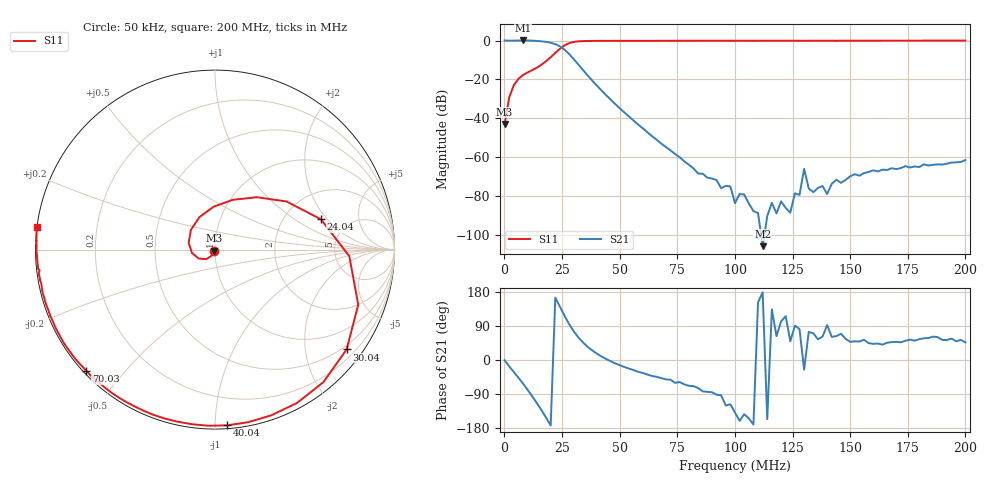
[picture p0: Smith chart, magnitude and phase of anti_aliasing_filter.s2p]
# HZ S RI R 50
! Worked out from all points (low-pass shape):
!   101 points, 50 kHz to 200 MHz, reference 50 ohm
!   highest |S21| = 0.05 dB at 8.048 MHz (marker M1); lowest = -105.8 dB at 112 MHz (marker M2)
!   |S21| within 3 dB of the highest: start of sweep to 24.02 MHz
!   lowest |S11| = -42.9 dB at 50 kHz (marker M3), VSWR 1.01, Z = 49.7 - j0.644 ohm
!   |S11| at or under -10 dB: start of sweep to 18.65 MHz
!   S12 and S22 are empty: the file has one direction only
!   S11 on the Smith chart (normalised r, x): 50 kHz: 0.99, -0.01; 24.04 MHz: 3.17, +1.72; 30.04 MHz: 0.40, -2.92; 40.04 MHz: 0.02, -1.07; 70.03 MHz: 0.01, -0.40; 200 MHz: -0.00, +0.06
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50000  -0.00296 -0.00648  1.004 -0.00808  0 0  0 0
2049500  -0.0148 -0.0311  0.9509 -0.2867  0 0  0 0
4049000  -0.0477 -0.053  0.8487 -0.5222  0 0  0 0
8048000  -0.1284 -0.0187  0.4657 -0.8914  0 0  0 0
1.2047e7  -0.1344 0.1095  -0.1035 -0.9887  0 0  0 0
1.80455e7  0.099 0.2773  -0.8149 -0.4342  0 0  0 0
2.4044e7  0.5899 0.1688  -0.5502 0.4503  0 0  0 0
3.00425e7  0.7333 -0.5562  0.0825 0.3232  0 0  0 0
3.40415e7  0.4568 -0.8545  0.121 0.1269  0 0  0 0
4.004e7  0.0662 -0.9792  0.0667 0.0203  0 0  0 0
6.8033e7  -0.6937 -0.7001  0.00149 -0.00166  0 0  0 0
7.00325e7  -0.7166 -0.6766  0.00115 -0.00142  0 0  0 0
9.40265e7  -0.8845 -0.443  -9.14e-06 -0.000158  0 0  0 0
9.80255e7  -0.8991 -0.4099  -7.88e-05 -0.000157  0 0  0 0
1.00025e8  -0.9062 -0.3938  -4.93e-05 -4.3e-05  0 0  0 0
1.12022e8  -0.9407 -0.306  -5.13e-06 1.21e-07  0 0  0 0
1.28018e8  -0.9658 -0.2038  1.55e-05 0.000106  0 0  0 0
1.300175e8  -0.9672 -0.1896  0.000451 -0.000214  0 0  0 0
1.32017e8  -0.9701 -0.182  4.31e-05 0.000151  0 0  0 0
1.340165e8  -0.9749 -0.1711  4.18e-05 0.000118  0 0  0 0
1.68008e8  -0.9947 -0.00383  0.000352 0.00038  0 0  0 0
2e8  -0.9923 0.1244  0.000577 0.00061  0 0  0 0
